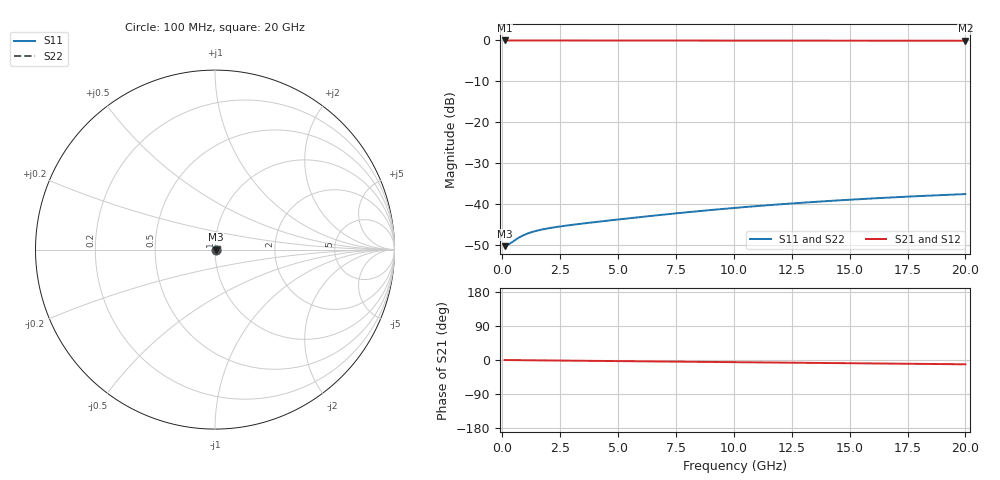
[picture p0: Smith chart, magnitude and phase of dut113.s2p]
! Touchstone file exported from HFSS 2026.1.0
!  File:  C:/ffzhzh/LocalFiles/Ansys_Project_Files/temp_train_TMRDL_113_1782982469_45328.aedt
!  Generated:  04:55:36 PM Jul  2, 2026
!  Design:  TMRDL
!  Project:  temp_train_TMRDL_113_1782982469_45328
! Variables:
!  h_bsmrdl = 2um
!  h_ox = 20um
!  h_rdl = 5um
!  h_sub = 80um
!  h_tmrdl = 2.5um
!  h_tsv = 80um
!  h_via = 3um
!  l_bsmrdl = 300um
!  l_sub = 600.59um
!  l_tmrdl = 200.59um
!  m_sub = 200um
!  pitch = 12.37um
!  r_tsv = 6um
!  s_tmrdl = 10um
!  w_bsmrdl = 18um
!  w_sub = 500um
!  w_tmrdl = 10.09um
!  x_tsv_center1 = 205.635um
!  x_tsv_center2 = 523.635um
!  x_tsv_center3 = 734.315um
!  x_tsv_center4 = 1052.315um
!  x_tsv_center5 = 1262.995um
!  x_tsv_center6 = 1580.995um
# GHz S MA R 50.000000
! Terminal data exported
! Port[1] = TM_RDL1_1_T1
! Port[2] = TM_RDL1_1_T2
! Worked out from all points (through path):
!   200 points, 100 MHz to 20 GHz, reference 50 ohm
!   highest |S21| = -0.03 dB at 100 MHz (marker M1); lowest = -0.1 dB at 20 GHz (marker M2)
!   group delay of S21, straight-line fit = 1.56 ps
!   lowest |S11| = -50.4 dB at 100 MHz (marker M3), VSWR 1.01, Z = 50.3 + j0.0242 ohm
!   |S11| at or under -10 dB: start of sweep to end of sweep
!   |S22| runs from -50.4 to -37.6 dB; largest |S21 - S12| = 1.3e-14
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0.1  0.003031 4.5  0.997 -0.1  0.997 -0.1  0.003031 4.5
! Gamma 0 0 0 0
! Port Impedance 50 0 50 0
0.2  0.00311 8.7  0.9969 -0.1  0.9969 -0.1  0.00311 8.7
0.3  0.003228 12.2  0.9968 -0.2  0.9968 -0.2  0.003228 12.2
0.6  0.003682 18.5  0.9965 -0.4  0.9965 -0.4  0.003682 18.5
0.8  0.003975 20.3  0.9963 -0.5  0.9963 -0.5  0.003975 20.3
1  0.004227 21.2  0.9961 -0.6  0.9961 -0.6  0.004227 21.2
1.3  0.004531 21.8  0.9958 -0.8  0.9958 -0.8  0.004531 21.8
1.5  0.004696 22.1  0.9957 -0.9  0.9957 -0.9  0.004695 22.1
1.7  0.004838 22.4  0.9956 -1.0  0.9956 -1.0  0.004838 22.4
2.1  0.00508 23.0  0.9954 -1.3  0.9954 -1.3  0.00508 23.0
2.7  0.005384 24.2  0.9951 -1.6  0.9951 -1.6  0.005384 24.2
3.5  0.005749 25.8  0.9949 -2.1  0.9949 -2.1  0.005749 25.8
5.1  0.006476 28.8  0.9945 -3.0  0.9945 -3.0  0.006475 28.9
6.8  0.007293 31.0  0.994 -3.9  0.994 -3.9  0.007292 31.0
8.5  0.008142 32.0  0.9935 -4.9  0.9935 -4.9  0.008139 32.0
10.1  0.008941 32.1  0.9929 -5.8  0.9929 -5.8  0.008936 32.1
11.7  0.009721 31.6  0.9923 -6.7  0.9923 -6.7  0.009715 31.6
13.4  0.01051 30.5  0.9917 -7.7  0.9917 -7.7  0.01051 30.6
15  0.01122 29.3  0.9911 -8.5  0.9911 -8.5  0.01121 29.3
16.7  0.01192 27.7  0.9904 -9.5  0.9904 -9.5  0.01191 27.7
18.3  0.01254 26.1  0.9898 -10.4  0.9898 -10.4  0.01253 26.1
20  0.01315 24.3  0.9892 -11.3  0.9892 -11.3  0.01313 24.4
